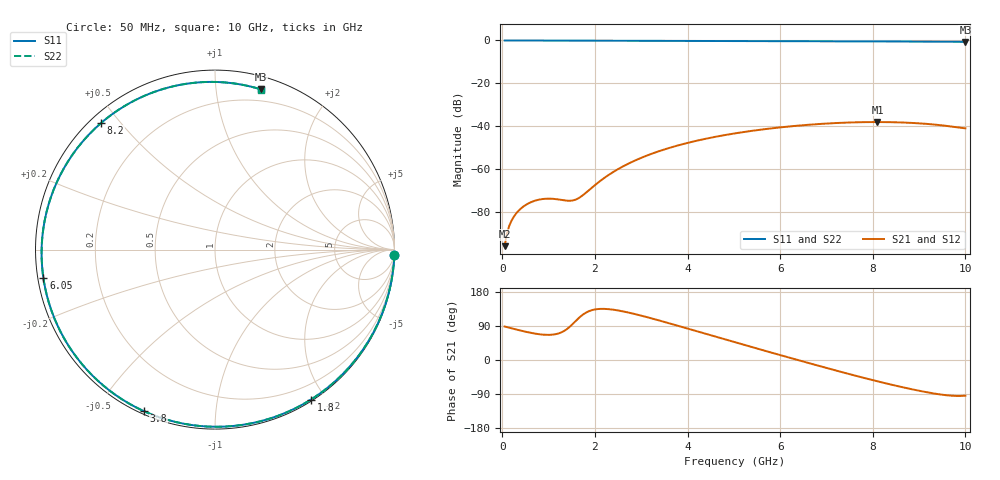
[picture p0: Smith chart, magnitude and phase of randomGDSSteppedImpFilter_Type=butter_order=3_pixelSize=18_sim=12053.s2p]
! freq	dB(S11)	phase(S11)	dB(S12)	phase(S12)
!  dB(S21)	phase(S21)	dB(S22)	phase(S22)
!S-par simulation data
#  GHz  S  DB  R 50
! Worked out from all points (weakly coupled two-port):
!   200 points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, 50 MHz to 10 GHz, reference 50 ohm
!   highest |S21| = -38.02 dB at 8.1 GHz (marker M1); lowest = -95.9 dB at 50 MHz (marker M2)
!   lowest |S11| = -0.6 dB at 10 GHz (marker M3), VSWR 26.95, Z = 5.12 + j66.2 ohm
!   |S11| at or under -10 dB: nowhere
!   |S22| runs from -0.6 to 0.0 dB; largest |S21 - S12| = 0
!   S11 on the Smith chart (normalised r, x): 50 MHz: 0, -69; 1.8 GHz: 0.02, -1.83; 3.8 GHz: 0.01, -0.65; 6.05 GHz: 0.02, -0.08; 8.2 GHz: 0.03, +0.45; 10 GHz: 0.10, +1.32
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0.05  -0.00 -1.7  -95.86 88.4  -95.86 88.4  -0.00 -1.7
0.3  -0.01 -9.9  -80.60 80.5  -80.60 80.5  -0.01 -9.9
0.55  -0.02 -18.0  -76.10 73.4  -76.10 73.4  -0.02 -18.0
0.8  -0.03 -26.1  -74.15 68.0  -74.15 68.0  -0.03 -26.1
1.05  -0.04 -34.1  -73.74 66.6  -73.74 66.6  -0.04 -34.1
1.5  -0.06 -48.2  -74.64 92.5  -74.64 92.5  -0.06 -48.2
1.75  -0.07 -55.9  -71.94 120.6  -71.94 120.6  -0.07 -55.9
1.8  -0.07 -57.4  -71.07 124.5  -71.07 124.5  -0.07 -57.4
2.15  -0.09 -67.9  -64.89 135.0  -64.89 135.0  -0.09 -67.9
2.5  -0.10 -78.1  -59.96 130.8  -59.96 130.8  -0.10 -78.1
2.9  -0.11 -89.4  -55.62 120.1  -55.62 120.1  -0.11 -89.4
3.4  -0.13 -103.1  -51.49 103.9  -51.49 103.9  -0.13 -103.1
3.8  -0.15 -113.8  -48.87 90.0  -48.87 90.0  -0.15 -113.8
5.05  -0.21 -145.7  -43.21 45.9  -43.21 45.9  -0.21 -145.7
6.05  -0.27 -170.6  -40.40 11.3  -40.40 11.3  -0.27 -170.7
6.7  -0.32 172.8  -39.15 -10.9  -39.15 -10.9  -0.32 172.8
7.4  -0.38 154.4  -38.30 -34.2  -38.30 -34.2  -0.38 154.4
8.1  -0.45 134.9  -38.02 -56.2  -38.02 -56.2  -0.45 134.8
8.2  -0.46 132.0  -38.03 -59.2  -38.03 -59.2  -0.46 131.9
8.35  -0.47 127.6  -38.06 -63.6  -38.06 -63.6  -0.47 127.5
9.2  -0.56 101.2  -38.94 -85.8  -38.94 -85.8  -0.56 101.1
10  -0.64 73.9  -40.95 -94.1  -40.95 -94.1  -0.65 73.8
